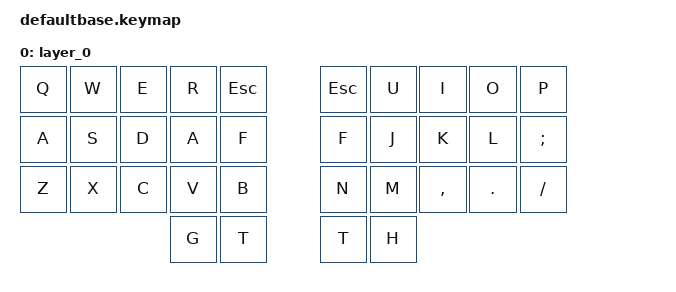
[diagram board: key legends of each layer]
/*
 * Copyright (c) 2021 The ZMK Contributors
 *
 * SPDX-License-Identifier: MIT
 */

 {
    keymap {
        compatible = "zmk,keymap";

        layer_0 {
            bindings = <
&kp Q  &kp W  &kp E  &kp R  &kp ESC                  &kp ESC  &kp U  &kp I      &kp O    &kp P
&kp A  &kp S  &kp D  &kp A  &kp F                    &kp F    &kp J  &kp K      &kp L    &kp SEMI
&kp Z  &kp X  &kp C  &kp V  &kp B                    &kp N    &kp M  &kp COMMA  &kp DOT  &kp FSLH
                            &kp G    &kp T    &kp T  &kp H
            >;
        };
    };
};
